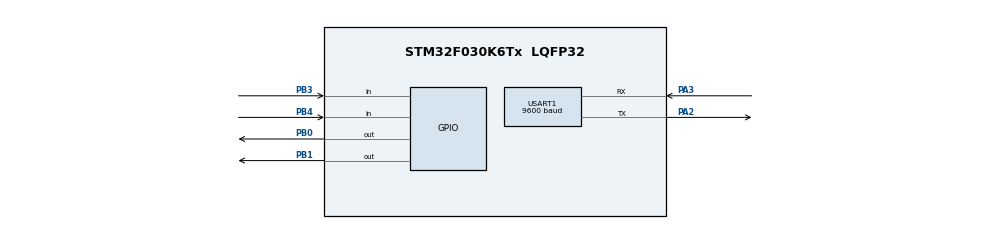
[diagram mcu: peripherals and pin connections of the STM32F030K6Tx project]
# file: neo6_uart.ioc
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Mcu.Family=STM32F0
Mcu.Name=STM32F030K6Tx
Mcu.Package=LQFP32
NVIC.USART1_IRQn=true\:0\:0\:false\:false\:true\:true\:true
PA13.Mode=Serial_Wire
PA13.Signal=SYS_SWDIO
PA14.Mode=Serial_Wire
PA14.Signal=SYS_SWCLK
PA2.Mode=Asynchronous
PA2.Signal=USART1_TX
PA3.Mode=Asynchronous
PA3.Signal=USART1_RX
PB0.Signal=GPIO_Output
PB1.Signal=GPIO_Output
PB3.Signal=GPIO_Input
PB4.Signal=GPIO_Input
ProjectManager.HeapSize=0x200
ProjectManager.StackSize=0x400
ProjectManager.TargetToolchain=MDK-ARM V5
USART1.BaudRate=9600
USART1.VirtualMode-Asynchronous=VM_ASYNC
board=custom

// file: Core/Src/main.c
/* USER CODE BEGIN Header */
/**
  ******************************************************************************
  * @file           : main.c
  * @brief          : Main program body
  ******************************************************************************
  * @attention
  *
  * <h2><center>&copy; Copyright (c) 2021 STMicroelectronics.
  * All rights reserved.</center></h2>
  *
  * This software component is licensed by ST under BSD 3-Clause license,
  * the "License"; You may not use this file except in compliance with the
  * License. You may obtain a copy of the License at:
  *                        opensource.org/licenses/BSD-3-Clause
  *
  ******************************************************************************
  */
/* USER CODE END Header */
#include "main.h"
#include <stdio.h>

/* USER CODE BEGIN Includes */
unsigned char recive_packet[470];
int i=0;//recived packet index
int hh,mm,ss;//hour //minute//secend
int xkoft,ykoft;

int latitude_decimal[2];

long int latitude_float[7];
int latitude_decimal_number;
char latitude_decimal_char[2];//******

long int latitude_float_number;
uint8_t latitude_float_number_int;

char latitude_float_char[5];//******

// int latitude_float_number_final;

char longitude_decimal[2];
long int longitude_float[7];
int longitude_decimal_number;
char longtitude_decimal_char[2];//******

long int longitude_float_number;
uint8_t longitude_float_number_int;

char longtitude_float_char[5]; //******

char darage='°';
char cot[1]="'";

int neo_flag=0;
int data_omet_flag=0;
int cntlz=0x1a;
int enter=0x0d;
char phone_number[21];
char sms_string[]="https://www.google.com/maps/place/35%C2%B044'49.0%22N+51%C2%B032'29.2%22E/";
char sms_char[50];
char sms_char1[100];

int lot1000,lod1000,lat1000,lad1000;
int sms_sender_flag=0;
/* USER CODE END Includes */

UART_HandleTypeDef huart1;

void SystemClock_Config(void);
static void MX_GPIO_Init(void);
static void MX_USART1_UART_Init(void);

int main(void)
{

  /* MCU Configuration--------------------------------------------------------*/

  /* Reset of all peripherals, Initializes the Flash interface and the Systick. */
  HAL_Init();

  /* Configure the system clock */
  SystemClock_Config();

  /* Initialize all configured peripherals */
  MX_GPIO_Init();
  MX_USART1_UART_Init();

  /* Infinite loop */
  /* USER CODE BEGIN WHILE */

	phone_number[0]='A';
	phone_number[1]='T';
	phone_number[2]='+';
	phone_number[3]='C';
	phone_number[4]='M';
	phone_number[5]='G';
	phone_number[6]='S';
	phone_number[7]='=';
	phone_number[8]='"';
	phone_number[9]='0';
	phone_number[10]='9';
	phone_number[11]='3';
	phone_number[12]='8';
	phone_number[13]='2';
	phone_number[14]='0';
	phone_number[15]='3';
	phone_number[16]='5';
	phone_number[17]='1';
	phone_number[18]='2';
	phone_number[19]='1';
	phone_number[20]='"';
	//sprintf(phone_number,'AT+CMGS="%s"','09382035121');
	HAL_UART_Receive_IT(&huart1,(unsigned char*)&recive_packet,470);
	////////////////////////////////////////////////////////////////////////////////////

	HAL_UART_Transmit(&huart1,(unsigned char*)&("AT+CMGF=1"),9,800);
	HAL_UART_Transmit(&huart1,(uint8_t*)&(enter),1,800);

	HAL_Delay(1000);
	HAL_UART_Transmit(&huart1,(unsigned char*)&(phone_number),21,800);
		HAL_UART_Transmit(&huart1,(uint8_t*)&(enter),1,800);

	HAL_Delay(1000);
	HAL_UART_Transmit(&huart1,(unsigned char*)&("sim800l is here :)"),18,800);
		HAL_UART_Transmit(&huart1,(uint8_t*)&(enter),1,800);

	HAL_Delay(1000);
	HAL_UART_Transmit(&huart1,(uint8_t*)&cntlz,1,800);

	///////////////////////////////////////////////////////////////////////////////////////////
  while (1)
  {
	//https://www.google.com/maps/place/35%C2%B044'49.0%22N+51%C2%B032'29.2%22E/
	//35°44'48.6"N 51°32'29.4"E

		if (neo_flag==1){
			neo_flag=0;
		for(int i;i<=419;i++)//469
		{

			if(recive_packet[i]=='$' && recive_packet[i+1]=='G' &&  recive_packet[i+2]=='P' && recive_packet[i+3]=='R'
						&& recive_packet[i+4]=='M'&& recive_packet[i+5]=='C' && i<350)
						{
							data_omet_flag=1;
								hh=((recive_packet[i+7]-0x30)*10) +recive_packet[i+8]-0x30 ;
								mm=((recive_packet[i+9]-0x30)*10) +recive_packet[i+10]-0x30;
								ss=((recive_packet[i+11]-0x30)*10)+recive_packet[i+12]-0x30;
								xkoft=(recive_packet[i+12]-0x30);
								//ykoft=recive_packet[i+20]-0x30;

								latitude_decimal[0]=(recive_packet[i+19]-0x30)*10;
								latitude_decimal[1]=(recive_packet[i+20]-0x30);
								latitude_decimal_number=latitude_decimal[0]+latitude_decimal[1];

							latitude_decimal_char[0]=recive_packet[i+19];
							latitude_decimal_char[1]=recive_packet[i+20];

								latitude_float[0]=(recive_packet[i+21]-0x30)*16666;
								latitude_float_char[0]=latitude_float[0];

								latitude_float[1]=(recive_packet[i+22]-0x30)*1666;
								latitude_float_char[1]=latitude_float[1];

								latitude_float[2]=(recive_packet[i+24]-0x30)*166;
								latitude_float_char[2]=latitude_float[2];

								latitude_float[3]=(recive_packet[i+25]-0x30)*16;
								latitude_float_char[3]=latitude_float[3];

								latitude_float[4]=(recive_packet[i+26]-0x30);
								latitude_float_char[4]=latitude_float[4];

								latitude_float_number=(latitude_float[0]+latitude_float[1]+latitude_float[2]+latitude_float[3]+latitude_float[4]);//+latitude_float[5]+latitude_float[6]);

								longitude_decimal[0]=(recive_packet[i+33]-0x30)*10;
								longitude_decimal[1]=(recive_packet[i+34]-0x30);
								longitude_decimal_number=longitude_decimal[0]+longitude_decimal[1];
								longtitude_decimal_char[0]=recive_packet[i+33];
								longtitude_decimal_char[1]=recive_packet[i+34];

								longitude_float[0]=(recive_packet[i+35]-0x30)*16666;
								latitude_float_char[0]=longitude_float[0]+0x30;

								longitude_float[1]=(recive_packet[i+36]-0x30)*1666;
								latitude_float_char[1]=longitude_float[1]+0x30;

								longitude_float[2]=(recive_packet[i+38]-0x30)*166;
								latitude_float_char[2]=longitude_float[2]+0x30;

								longitude_float[3]=(recive_packet[i+39]-0x30)*16;
								latitude_float_char[3]=longitude_float[3]+0x30;

								longitude_float[4]=(recive_packet[i+40]-0x30);
								latitude_float_char[4]=longitude_float[4]+0x30;
								//longitude_float[5]=(recive_packet[i+41]-0x30)*10/60;
							//	longitude_float[6]=(recive_packet[i+42]-0x30)/60;
							latitude_float_number_int=latitude_float_number;
							longitude_float_number_int=longitude_float_number;

								longitude_float_number=(longitude_float[0]+longitude_float[1]+longitude_float[2]+longitude_float[3]+longitude_float[4]);//+longitude_float[5]+longitude_float[6]);
						}
		}
		HAL_GPIO_TogglePin(GPIOB,GPIO_PIN_0);
		HAL_UART_Receive_IT(&huart1,(unsigned char*)&recive_packet,470);
}
		lat1000=latitude_float_number/1000;
		lad1000=latitude_float_number%1000;
		lot1000=longitude_float_number/1000;
		lod1000=longitude_float_number%1000;
if(mm%29==28){sms_sender_flag=1;}
		if(neo_flag==0 && xkoft!=0 && data_omet_flag==1 &&latitude_decimal_number>0 && longitude_decimal_number>0 &&lat1000>0 &&lot1000>0&& mm%29==0 && sms_sender_flag==1)
		{	sms_sender_flag=0;
			//str=x+y;//("https://www.google.com/maps/place/%d%%C2%%B0%d'49.0%%22N+51%%C2%%B032'29.2%%22E");

			HAL_UART_Transmit(&huart1,(unsigned char*)&("AT+CMGF=1"),9,800);
			HAL_UART_Transmit(&huart1,(uint8_t*)&(enter),1,800);

			HAL_Delay(1000);
			HAL_UART_Transmit(&huart1,(unsigned char*)&(phone_number),21,800);
			HAL_UART_Transmit(&huart1,(uint8_t*)&(enter),1,800);

			HAL_Delay(1000);

			sprintf(sms_char,"%d.%d%d,%d.%d%d",latitude_decimal_number,lat1000,lad1000,longitude_decimal_number,lot1000,lod1000);
			HAL_UART_Transmit(&huart1,(uint8_t*)&sms_char,17,800);

			HAL_Delay(500);
			HAL_UART_Transmit(&huart1,(uint8_t*)&cntlz,1,800);
			HAL_UART_Transmit(&huart1,(uint8_t*)&(enter),1,800);

			HAL_Delay(500);

			data_omet_flag=0;
			HAL_Delay(500);

		}

    /* USER CODE END WHILE */

  }
}

void SystemClock_Config(void)
{
  RCC_OscInitTypeDef RCC_OscInitStruct = {0};
  RCC_ClkInitTypeDef RCC_ClkInitStruct = {0};
  RCC_PeriphCLKInitTypeDef PeriphClkInit = {0};

  /** Initializes the RCC Oscillators according to the specified parameters
  * in the RCC_OscInitTypeDef structure.
  */
  RCC_OscInitStruct.OscillatorType = RCC_OSCILLATORTYPE_HSI;
  RCC_OscInitStruct.HSIState = RCC_HSI_ON;
  RCC_OscInitStruct.HSICalibrationValue = RCC_HSICALIBRATION_DEFAULT;
  RCC_OscInitStruct.PLL.PLLState = RCC_PLL_NONE;
  if (HAL_RCC_OscConfig(&RCC_OscInitStruct) != HAL_OK)
  {
    Error_Handler();
  }
  /** Initializes the CPU, AHB and APB buses clocks
  */
  RCC_ClkInitStruct.ClockType = RCC_CLOCKTYPE_HCLK|RCC_CLOCKTYPE_SYSCLK
                              |RCC_CLOCKTYPE_PCLK1;
  RCC_ClkInitStruct.SYSCLKSource = RCC_SYSCLKSOURCE_HSI;
  RCC_ClkInitStruct.AHBCLKDivider = RCC_SYSCLK_DIV1;
  RCC_ClkInitStruct.APB1CLKDivider = RCC_HCLK_DIV1;

  if (HAL_RCC_ClockConfig(&RCC_ClkInitStruct, FLASH_LATENCY_0) != HAL_OK)
  {
    Error_Handler();
  }
  PeriphClkInit.PeriphClockSelection = RCC_PERIPHCLK_USART1;
  PeriphClkInit.Usart1ClockSelection = RCC_USART1CLKSOURCE_PCLK1;
  if (HAL_RCCEx_PeriphCLKConfig(&PeriphClkInit) != HAL_OK)
  {
    Error_Handler();
  }
}

static void MX_USART1_UART_Init(void)
{

  huart1.Instance = USART1;
  huart1.Init.BaudRate = 9600;
  huart1.Init.WordLength = UART_WORDLENGTH_8B;
  huart1.Init.StopBits = UART_STOPBITS_1;
  huart1.Init.Parity = UART_PARITY_NONE;
  huart1.Init.Mode = UART_MODE_TX_RX;
  huart1.Init.HwFlowCtl = UART_HWCONTROL_NONE;
  huart1.Init.OverSampling = UART_OVERSAMPLING_16;
  huart1.Init.OneBitSampling = UART_ONE_BIT_SAMPLE_DISABLE;
  huart1.AdvancedInit.AdvFeatureInit = UART_ADVFEATURE_NO_INIT;
  if (HAL_UART_Init(&huart1) != HAL_OK)
  {
    Error_Handler();
  }

}

static void MX_GPIO_Init(void)
{
  GPIO_InitTypeDef GPIO_InitStruct = {0};

  /* GPIO Ports Clock Enable */
  __HAL_RCC_GPIOA_CLK_ENABLE();
  __HAL_RCC_GPIOB_CLK_ENABLE();

  /*Configure GPIO pin Output Level */
  HAL_GPIO_WritePin(GPIOB, GPIO_PIN_0|GPIO_PIN_1, GPIO_PIN_RESET);

  /*Configure GPIO pins : PB0 PB1 */
  GPIO_InitStruct.Pin = GPIO_PIN_0|GPIO_PIN_1;
  GPIO_InitStruct.Mode = GPIO_MODE_OUTPUT_PP;
  GPIO_InitStruct.Pull = GPIO_NOPULL;
  GPIO_InitStruct.Speed = GPIO_SPEED_FREQ_LOW;
  HAL_GPIO_Init(GPIOB, &GPIO_InitStruct);

  /*Configure GPIO pins : PB3 PB4 */
  GPIO_InitStruct.Pin = GPIO_PIN_3|GPIO_PIN_4;
  GPIO_InitStruct.Mode = GPIO_MODE_INPUT;
  GPIO_InitStruct.Pull = GPIO_NOPULL;
  HAL_GPIO_Init(GPIOB, &GPIO_InitStruct);

}

void Error_Handler(void)
{
  __disable_irq();
  while (1)
  {
  }
}

/************************ (C) COPYRIGHT STMicroelectronics *****END OF FILE****/
